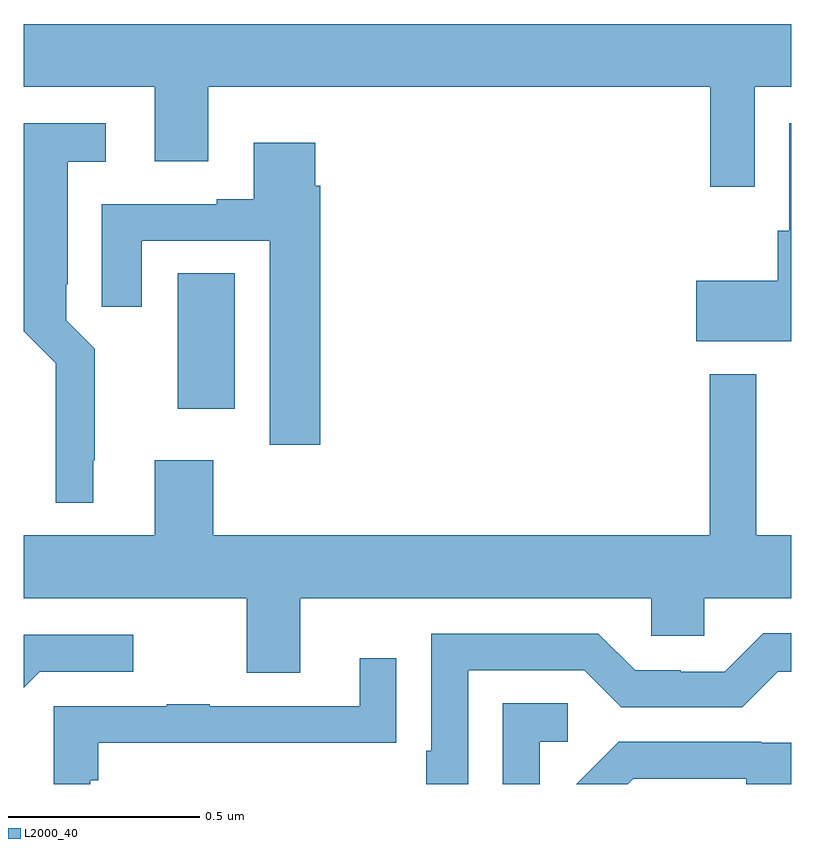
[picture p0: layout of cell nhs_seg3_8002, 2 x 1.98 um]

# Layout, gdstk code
import gdstk
lib = gdstk.Library(unit=1e-6, precision=1e-09)
def R(c, l, rs):  # rectangles x0, y0, x1, y1
    for r in rs: c.add(gdstk.rectangle(r[:2], r[2:], *l))
def P(c, l, *ps):  # polygons
    for p in ps: c.add(gdstk.Polygon(p, *l))
L2000_40 = (2000, 40)

nhs_seg3_8002 = lib.new_cell('nhs_seg3_8002')
R(nhs_seg3_8002, L2000_40, [(210.401,733.377,210.55,733.73)])
P(nhs_seg3_8002, L2000_40, [(210,734.216),(210.341,734.216),(210.341,734.022),(210.481,734.022),(210.481,734.216),(211.789,734.216),(211.789,733.956),(211.905,733.956),(211.905,734.216),(212,734.216),(212,734.38),(210,734.38)],
  [(212,734.122),(211.994,734.122),(211.994,733.842),(211.964,733.842),(211.964,733.711),(211.752,733.711),(211.752,733.553),(212,733.553)],
  [(210.181,733.243),(210.185,733.243),(210.185,733.534),(210.111,733.608),(210.111,733.702),(210.115,733.702),(210.115,734.021),(210.214,734.021),(210.214,734.122),(210,734.122),(210,733.58),(210.084,733.496),(210.084,733.394),(210.083,733.394),(210.083,733.133),(210.181,733.133)],
  [(210.773,733.958),(210.76,733.958),(210.76,734.071),(210.599,734.071),(210.599,733.924),(210.503,733.924),(210.503,733.911),(210.203,733.911),(210.203,733.644),(210.307,733.644),(210.307,733.815),(210.641,733.815),(210.641,733.284),(210.773,733.284)],
  [(210.721,732.884),(211.635,732.884),(211.635,732.786),(211.773,732.786),(211.773,732.884),(212,732.884),(212,733.048),(211.909,733.048),(211.909,733.468),(211.787,733.468),(211.787,733.048),(210.494,733.048),(210.494,733.243),(210.341,733.243),(210.341,733.048),(210,733.048),(210,732.884),(210.581,732.884),(210.581,732.69),(210.721,732.69)],
  [(211.158,732.696),(211.461,732.696),(211.557,732.6),(211.872,732.6),(211.965,732.693),(212,732.693),(212,732.793),(211.927,732.793),(211.827,732.693),(211.712,732.693),(211.712,732.696),(211.593,732.696),(211.497,732.792),(211.062,732.792),(211.062,732.487),(211.049,732.487),(211.049,732.4),(211.158,732.4)],
  [(210.042,732.693),(210.286,732.693),(210.286,732.789),(210,732.789),(210,732.651)],
  [(210.174,732.41),(210.194,732.41),(210.194,732.507),(210.869,732.507),(210.869,732.508),(210.971,732.508),(210.971,732.727),(210.875,732.727),(210.875,732.603),(210.485,732.603),(210.485,732.608),(210.373,732.608),(210.373,732.603),(210.078,732.603),(210.078,732.4),(210.174,732.4)],
  [(211.344,732.51),(211.417,732.51),(211.417,732.611),(211.248,732.611),(211.248,732.4),(211.344,732.4)],
  [(211.588,732.414),(211.883,732.414),(211.883,732.4),(212,732.4),(212,732.507),(211.922,732.507),(211.922,732.51),(211.55,732.51),(211.44,732.4),(211.574,732.4)])

lib.write_gds('nhs_seg3_8002.gds')
